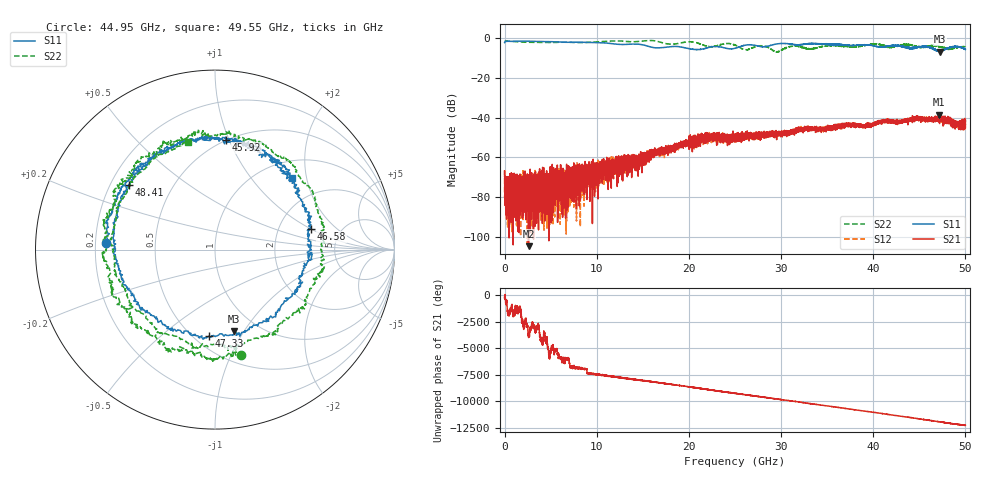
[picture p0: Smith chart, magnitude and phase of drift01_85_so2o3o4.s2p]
!Created with skrf (http://scikit-rf.org).
# Hz S RI R 50.0
!freq ReS11 ImS11 ReS21 ImS21 ReS12 ImS12 ReS22 ImS22
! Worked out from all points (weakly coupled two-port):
!   10001 points, 300 kHz to 50 GHz, reference 50 ohm
!   highest |S21| = -38.37 dB at 47.12 GHz (marker M1); lowest = -104.7 dB at 2.595 GHz (marker M2)
!   lowest |S11| = -6.6 dB at 47.22 GHz (marker M3), VSWR 2.76, Z = 38.8 - j45.4 ohm
!   |S11| at or under -10 dB: nowhere
!   |S22| runs from -6.8 to -1.0 dB; largest |S21 - S12| = 0.0035
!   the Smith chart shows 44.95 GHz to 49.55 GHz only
!   S11 on the Smith chart (normalised r, x): 44.95 GHz: 0.25, +0.03; 45.92 GHz: 0.50, +0.97; 46.58 GHz: 3.05, +1.01; 47.33 GHz: 0.59, -0.74; 48.41 GHz: 0.28, +0.31; 49.55 GHz: 1.36, +1.63
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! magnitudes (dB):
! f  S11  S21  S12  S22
! 300 kHz  -2.1  -66.7  -66.7  -1.3
! 260.3 MHz  -1.4  -78.6  -70.8  -1.4
! 2.595 GHz  -1.4  -104.7  -85.4  -1.9
! 4.7 GHz  -1.6  -73.3  -81.8  -2.1
! 8.335 GHz  -1.9  -67.4  -67.7  -2.1
! 16.67 GHz  -4.8  -56.3  -57.9  -1.6
! 21.86 GHz  -4.9  -49.7  -49.9  -3.8
! 25 GHz  -5.0  -48.1  -48.9  -3.4
! 28.07 GHz  -4.2  -49.9  -49.2  -3.9
! 29.56 GHz  -2.8  -47.8  -47.8  -6.7
! 31.29 GHz  -3.0  -47.4  -47.2  -3.9
! 33.34 GHz  -2.5  -45.5  -45.8  -5.3
! 41.67 GHz  -3.8  -41.4  -41.8  -4.5
! 44.95 GHz  -4.4  -40.7  -40.4  -4.4
! 45.92 GHz  -4.2  -41.3  -40.3  -4.1
! 46.58 GHz  -5.2  -40.7  -40.8  -3.9
! 47.12 GHz  -6.5  -38.4  -39.9  -4.1
! 47.22 GHz  -6.6  -41.6  -40.5  -4.0
! 47.33 GHz  -6.3  -40.7  -40.9  -4.3
! 48.41 GHz  -4.5  -42.8  -41.4  -5.2
! 49.55 GHz  -4.7  -43.5  -43.9  -4.2
! 50 GHz  -5.5  -41.7  -44.1  -4.3
